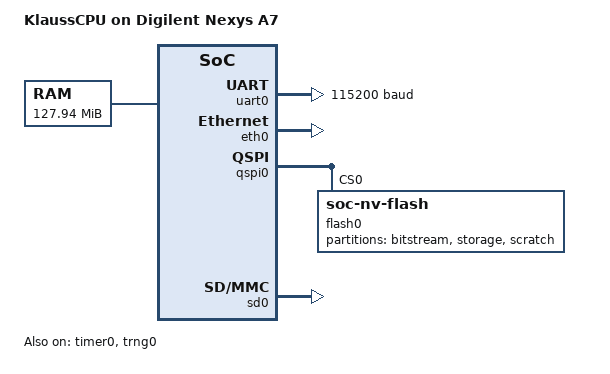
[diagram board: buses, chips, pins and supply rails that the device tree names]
/dts-v1/;

/ {
	#address-cells = <1>;
	#size-cells = <1>;
	model = "KlaussCPU on Digilent Nexys A7";
	compatible = "klausscpu,nexys-a7";

	chosen {
		zephyr,sram = &sram0;
		zephyr,console = &uart0;
		zephyr,shell-uart = &uart0;
		zephyr,entropy = &trng0;
	};

	cpus {
		#address-cells = <1>;
		#size-cells = <0>;
		cpu0: cpu@0 {
			compatible = "klausscpu,klausscpu";
			device_type = "cpu";
			reg = <0>;
		};
	};

	/*
	 * 128 MiB RAM.  First 32 bytes (0x00-0x1F) are the hardware heap
	 * header; code starts at 0x20.  Top 64 KiB reserved for stack.
	 * Zephyr places its BSS/data here; kernel + app live in .text.
	 */
	sram0: memory@20 {
		compatible = "mmio-sram";
		reg = <0x00000020 0x07FF0000>;
	};

	/* KlaussCPU UART — single MMIO byte at 0xF0010000 (TX/RX register). */
	uart0: uart@f0010000 {
		compatible = "klausscpu,uart";
		reg = <0xF0010000 0x10>;
		status = "okay";
		current-speed = <115200>;
	};

	/* Interrupt controller + timer at 0xF00F_0000. */
	timer0: timer@f00f0000 {
		compatible = "klausscpu,timer";
		reg = <0xF00F0000 0x50>;
		status = "okay";
	};

	/* LiteEth MAC — CSRs at 0xF006_0000, slot SRAM at 0xF008_0000. */
	eth0: ethernet@f0060000 {
		compatible = "klausscpu,ethernet";
		reg = <0xF0060000 0x2000>;
		status = "okay";
	};

	/* True random number generator at 0xF00C_0000. */
	trng0: trng@f00c0000 {
		compatible = "klausscpu,trng";
		reg = <0xF00C0000 0x100>;
		status = "okay";
	};

	/*
	 * QSPI configuration flash (S25FL128S, 16 MiB) through qspi_ctrl at
	 * 0xF012_0000.  The FPGA bitstream is below 0xF0_0000; the hardware
	 * refuses program/erase there.  Offsets are flash byte addresses.
	 */
	qspi0: flash-controller@f0120000 {
		compatible = "klausscpu,qspi-flash";
		reg = <0xF0120000 0x200>;
		#address-cells = <1>;
		#size-cells = <1>;
		status = "okay";

		flash0: flash@0 {
			compatible = "soc-nv-flash";
			reg = <0x0 0x1000000>;
			erase-block-size = <0x10000>;
			write-block-size = <1>;

			partitions {
				compatible = "fixed-partitions";
				#address-cells = <1>;
				#size-cells = <1>;

				bitstream_partition: partition@0 {
					label = "bitstream";
					reg = <0x0 0xF00000>;
					read-only;
				};
				/* Private keys (ssh/keystore.c, NVS). */
				storage_partition: partition@f00000 {
					label = "storage";
					reg = <0xF00000 0xC0000>;
				};
				/* Board tests (klaussCPU tools/board/qspi_test.c). */
				scratch_partition: partition@fc0000 {
					label = "scratch";
					reg = <0xFC0000 0x40000>;
				};
			};
		};
	};

	/* SD card SPI controller at 0xF000_0000. */
	sd0: sd@f0000000 {
		compatible = "klausscpu,sd";
		reg = <0xF0000000 0x1000>;
		status = "okay";
	};
};
